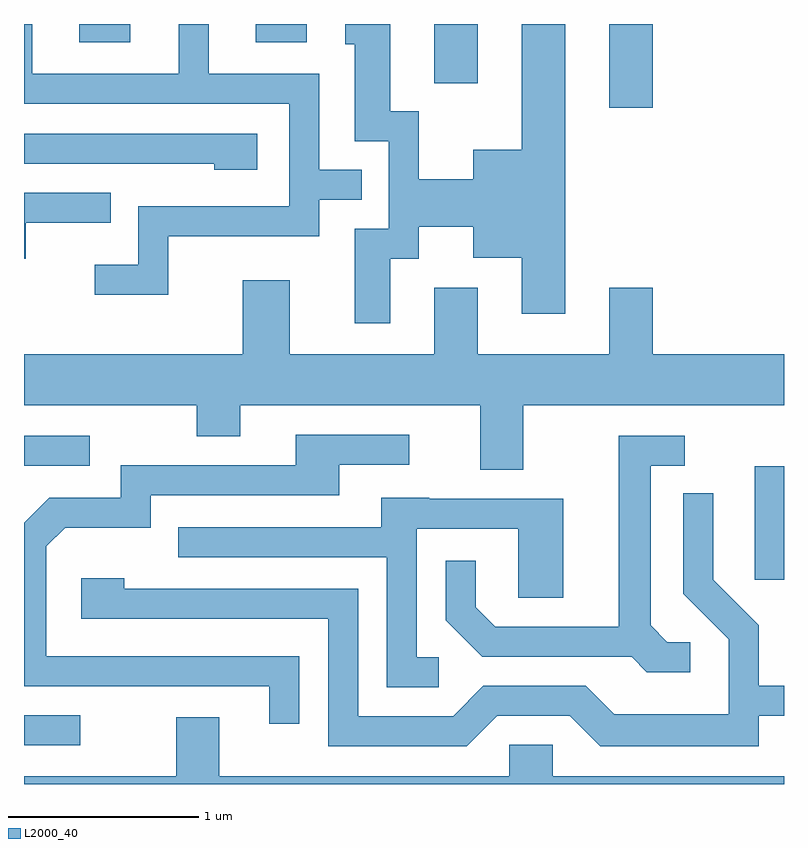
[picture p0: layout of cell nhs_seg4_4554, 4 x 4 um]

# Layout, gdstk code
import gdstk
lib = gdstk.Library(unit=1e-6, precision=1e-09)
def R(c, l, rs):  # rectangles x0, y0, x1, y1
    for r in rs: c.add(gdstk.rectangle(r[:2], r[2:], *l))
def P(c, l, *ps):  # polygons
    for p in ps: c.add(gdstk.Polygon(p, *l))
L2000_40 = (2000, 40)

nhs_seg4_4554 = lib.new_cell('nhs_seg4_4554')
R(nhs_seg4_4554, L2000_40, [(317.611,1386.186,317.908,1386.344), (321.456,1387.056,321.611,1387.654), (317.611,1387.656,317.958,1387.814), (320.691,1389.541,320.919,1389.982), (319.771,1389.671,319.999,1389.982), (317.901,1389.886,318.169,1389.982), (318.831,1389.886,319.099,1389.982)])
P(nhs_seg4_4554, L2000_40, [(318.369,1388.866),(319.164,1388.866),(319.164,1389.056),(319.388,1389.056),(319.388,1389.214),(319.164,1389.214),(319.164,1389.719),(318.584,1389.719),(318.584,1389.982),(318.426,1389.982),(318.426,1389.719),(317.654,1389.719),(317.654,1389.982),(317.611,1389.982),(317.611,1389.561),(319.006,1389.561),(319.006,1389.024),(318.211,1389.024),(318.211,1388.714),(317.983,1388.714),(317.983,1388.556),(318.369,1388.556)],
  [(319.539,1388.746),(319.689,1388.746),(319.689,1388.916),(319.976,1388.916),(319.976,1388.751),(320.231,1388.751),(320.231,1388.456),(320.459,1388.456),(320.459,1389.982),(320.231,1389.982),(320.231,1389.319),(319.976,1389.319),(319.976,1389.164),(319.689,1389.164),(319.689,1389.524),(319.539,1389.524),(319.539,1389.982),(319.303,1389.982),(319.303,1389.876),(319.351,1389.876),(319.351,1389.366),(319.531,1389.366),(319.531,1388.904),(319.351,1388.904),(319.351,1388.406),(319.539,1388.406)],
  [(318.839,1389.404),(317.611,1389.404),(317.611,1389.246),(318.611,1389.246),(318.611,1389.216),(318.839,1389.216)],
  [(317.619,1388.936),(318.068,1388.936),(318.068,1389.094),(317.611,1389.094),(317.611,1388.746),(317.619,1388.746)],
  [(320.239,1387.976),(321.611,1387.976),(321.611,1388.244),(320.919,1388.244),(320.919,1388.594),(320.691,1388.594),(320.691,1388.244),(319.999,1388.244),(319.999,1388.594),(319.771,1388.594),(319.771,1388.244),(319.009,1388.244),(319.009,1388.634),(318.761,1388.634),(318.761,1388.244),(317.611,1388.244),(317.611,1387.976),(318.521,1387.976),(318.521,1387.811),(318.749,1387.811),(318.749,1387.976),(320.011,1387.976),(320.011,1387.636),(320.239,1387.636)],
  [(319.059,1386.654),(317.729,1386.654),(317.729,1387.234),(317.827,1387.331),(318.279,1387.331),(318.279,1387.501),(319.269,1387.501),(319.269,1387.661),(319.638,1387.661),(319.638,1387.819),(319.041,1387.819),(319.041,1387.659),(318.121,1387.659),(318.121,1387.489),(317.744,1387.489),(317.611,1387.357),(317.611,1386.496),(318.901,1386.496),(318.901,1386.298),(319.059,1386.298)],
  [(321.118,1386.729),(320.997,1386.729),(320.909,1386.817),(320.909,1387.656),(321.088,1387.656),(321.088,1387.814),(320.741,1387.814),(320.741,1386.809),(320.092,1386.809),(319.989,1386.912),(319.989,1387.158),(319.831,1387.158),(319.831,1386.844),(320.024,1386.651),(320.809,1386.651),(320.889,1386.571),(321.118,1386.571)],
  [(320.102,1386.341),(320.484,1386.341),(320.644,1386.181),(321.479,1386.181),(321.479,1386.341),(321.611,1386.341),(321.611,1386.499),(321.479,1386.499),(321.479,1386.817),(321.239,1387.057),(321.239,1387.513),(321.081,1387.513),(321.081,1386.984),(321.321,1386.744),(321.321,1386.349),(320.717,1386.349),(320.567,1386.499),(320.029,1386.499),(319.869,1386.339),(319.369,1386.339),(319.369,1387.009),(318.139,1387.009),(318.139,1387.064),(317.911,1387.064),(317.911,1386.851),(319.211,1386.851),(319.211,1386.181),(319.942,1386.181)],
  [(319.793,1386.649),(319.679,1386.649),(319.679,1387.326),(320.211,1387.326),(320.211,1386.961),(320.449,1386.961),(320.449,1387.484),(319.745,1387.484),(319.745,1387.489),(319.491,1387.489),(319.491,1387.334),(318.423,1387.334),(318.423,1387.176),(319.521,1387.176),(319.521,1386.491),(319.793,1386.491)],
  [(321.611,1386.024),(320.394,1386.024),(320.394,1386.189),(320.166,1386.189),(320.166,1386.024),(318.639,1386.024),(318.639,1386.334),(318.411,1386.334),(318.411,1386.024),(317.611,1386.024),(317.611,1385.982),(321.611,1385.982)])

lib.write_gds('nhs_seg4_4554.gds')
